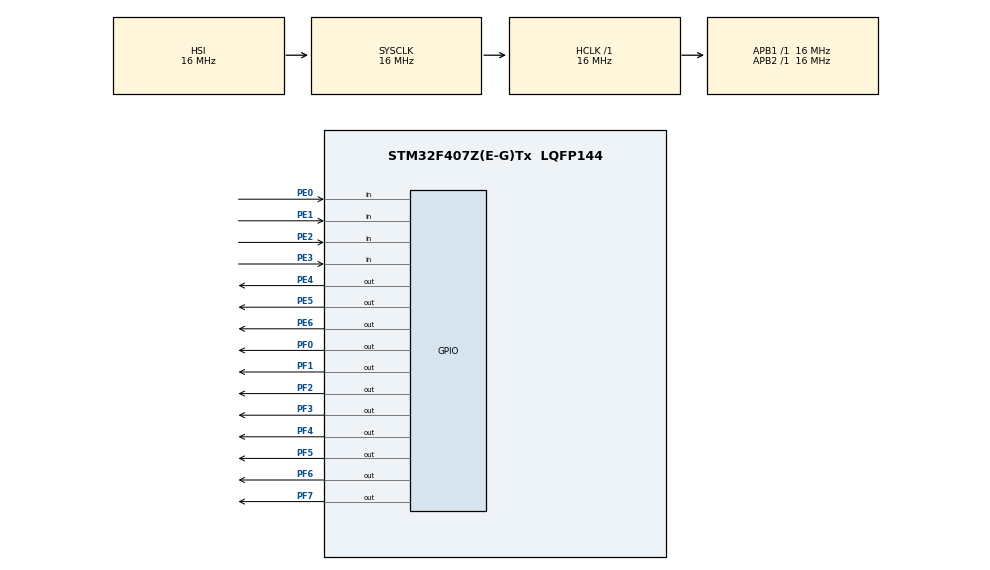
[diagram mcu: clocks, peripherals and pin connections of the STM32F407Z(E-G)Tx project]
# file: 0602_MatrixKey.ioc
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Mcu.Family=STM32F4
Mcu.Name=STM32F407Z(E-G)Tx
Mcu.Package=LQFP144
NVIC.PriorityGroup=NVIC_PRIORITYGROUP_4
PA13.Mode=Serial_Wire
PA13.Signal=SYS_JTMS-SWDIO
PA14.Mode=Serial_Wire
PA14.Signal=SYS_JTCK-SWCLK
PE0.GPIO_PuPd=GPIO_PULLUP
PE0.Signal=GPIO_Input
PE1.GPIO_PuPd=GPIO_PULLUP
PE1.Signal=GPIO_Input
PE2.GPIO_PuPd=GPIO_PULLUP
PE2.Signal=GPIO_Input
PE3.GPIO_PuPd=GPIO_PULLUP
PE3.Signal=GPIO_Input
PE4.PinState=GPIO_PIN_SET
PE4.Signal=GPIO_Output
PE5.PinState=GPIO_PIN_SET
PE5.Signal=GPIO_Output
PE6.PinState=GPIO_PIN_SET
PE6.Signal=GPIO_Output
PF0.PinState=GPIO_PIN_SET
PF0.Signal=GPIO_Output
PF1.PinState=GPIO_PIN_SET
PF1.Signal=GPIO_Output
PF2.PinState=GPIO_PIN_SET
PF2.Signal=GPIO_Output
PF3.PinState=GPIO_PIN_SET
PF3.Signal=GPIO_Output
PF4.PinState=GPIO_PIN_SET
PF4.Signal=GPIO_Output
PF5.PinState=GPIO_PIN_SET
PF5.Signal=GPIO_Output
PF6.PinState=GPIO_PIN_SET
PF6.Signal=GPIO_Output
PF7.PinState=GPIO_PIN_SET
PF7.Signal=GPIO_Output
ProjectManager.HeapSize=0x200
ProjectManager.StackSize=0x400
ProjectManager.TargetToolchain=MDK-ARM V5.32
RCC.AHBFreq_Value=16000000
RCC.APB1Freq_Value=16000000
RCC.APB2Freq_Value=16000000
RCC.CortexFreq_Value=16000000
RCC.HSE_VALUE=25000000
RCC.HSI_VALUE=16000000
RCC.LSE_VALUE=32768
RCC.SYSCLKFreq_VALUE=16000000
RCC.VCOOutputFreq_Value=192000000
board=custom

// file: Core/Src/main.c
/* USER CODE BEGIN Header */
/**
  ******************************************************************************
  * @file           : main.c
  * @brief          : Main program body
  ******************************************************************************
  */
/* USER CODE END Header */
#include "main.h"

void SystemClock_Config(void);
static void MX_GPIO_Init(void);

int main(void)
{
  /* USER CODE BEGIN 1 */
  uint16_t i, KeyVal = 0;
  uint8_t PreLine[3] = {0, 1, 2};
  /* USER CODE END 1 */

  /* MCU Configuration--------------------------------------------------------*/

  /* Reset of all peripherals, Initializes the Flash interface and the Systick. */
  HAL_Init();

  /* Configure the system clock */
  SystemClock_Config();

  /* Initialize all configured peripherals */
  MX_GPIO_Init();

  /* Infinite loop */
  while (1)
  {

    /* USER CODE BEGIN 3 */

    // ???:???? PE4?PE5?PE6
    for (i = 0; i < 3; i++)
    {
        // 1. ????????
        HAL_GPIO_WritePin(GPIOE, GPIO_PIN_4 | GPIO_PIN_5 | GPIO_PIN_6, GPIO_PIN_SET);

        // 2. ?????????
        HAL_GPIO_WritePin(GPIOE, (uint16_t)(1U << (i + 4)), GPIO_PIN_RESET);

        // 3. ????,??????
        HAL_Delay(2);

        // 4. ?? 4 ????? (PE0~PE3)
        if ((GPIOE->IDR & 0x0F) != 0x0F)
        {
            HAL_Delay(16); // ????
            if ((GPIOE->IDR & 0x0F) != 0x0F) // ????
            {
                switch ((GPIOE->IDR & 0x0F))
                {
                    case 0x0E: KeyVal = 4 * PreLine[i] + 1; break; // PE0 ??
                    case 0x0D: KeyVal = 4 * PreLine[i] + 2; break; // PE1 ??
                    case 0x0B: KeyVal = 4 * PreLine[i] + 3; break; // PE2 ??
                    case 0x07: KeyVal = 4 * PreLine[i] + 4; break; // PE3 ??
                    default  : break;
                }
            }
        }
    }

    // 5. ???? 8421BCD ?????? PF0~PF7
    // ?????,??????
    GPIOF->ODR = (uint16_t)~(((KeyVal / 10) << 4) + (KeyVal % 10));

  }
  /* USER CODE END 3 */
}

void SystemClock_Config(void)
{
  RCC_OscInitTypeDef RCC_OscInitStruct = {0};
  RCC_ClkInitTypeDef RCC_ClkInitStruct = {0};

  /** Configure the main internal regulator output voltage
  */
  __HAL_RCC_PWR_CLK_ENABLE();
  __HAL_PWR_VOLTAGESCALING_CONFIG(PWR_REGULATOR_VOLTAGE_SCALE1);

  /** Initializes the RCC Oscillators according to the specified parameters
  * in the RCC_OscInitTypeDef structure.
  */
  RCC_OscInitStruct.OscillatorType = RCC_OSCILLATORTYPE_HSI;
  RCC_OscInitStruct.HSIState = RCC_HSI_ON;
  RCC_OscInitStruct.HSICalibrationValue = RCC_HSICALIBRATION_DEFAULT;
  RCC_OscInitStruct.PLL.PLLState = RCC_PLL_NONE;
  if (HAL_RCC_OscConfig(&RCC_OscInitStruct) != HAL_OK)
  {
    Error_Handler();
  }

  /** Initializes the CPU, AHB and APB buses clocks
  */
  RCC_ClkInitStruct.ClockType = RCC_CLOCKTYPE_HCLK|RCC_CLOCKTYPE_SYSCLK
                              |RCC_CLOCKTYPE_PCLK1|RCC_CLOCKTYPE_PCLK2;
  RCC_ClkInitStruct.SYSCLKSource = RCC_SYSCLKSOURCE_HSI;
  RCC_ClkInitStruct.AHBCLKDivider = RCC_SYSCLK_DIV1;
  RCC_ClkInitStruct.APB1CLKDivider = RCC_HCLK_DIV1;
  RCC_ClkInitStruct.APB2CLKDivider = RCC_HCLK_DIV1;

  if (HAL_RCC_ClockConfig(&RCC_ClkInitStruct, FLASH_LATENCY_0) != HAL_OK)
  {
    Error_Handler();
  }
}

static void MX_GPIO_Init(void)
{
  GPIO_InitTypeDef GPIO_InitStruct = {0};

  /* GPIO Ports Clock Enable */
  __HAL_RCC_GPIOE_CLK_ENABLE();
  __HAL_RCC_GPIOF_CLK_ENABLE();
  __HAL_RCC_GPIOA_CLK_ENABLE();

  /*Configure GPIO pin Output Level */
  HAL_GPIO_WritePin(GPIOE, GPIO_PIN_4|GPIO_PIN_5|GPIO_PIN_6, GPIO_PIN_SET);
  HAL_GPIO_WritePin(GPIOF, GPIO_PIN_0|GPIO_PIN_1|GPIO_PIN_2|GPIO_PIN_3
                          |GPIO_PIN_4|GPIO_PIN_5|GPIO_PIN_6|GPIO_PIN_7, GPIO_PIN_SET);

  /*Configure GPIO pins : PE0 PE1 PE2 PE3 (????) */
  GPIO_InitStruct.Pin = GPIO_PIN_0|GPIO_PIN_1|GPIO_PIN_2|GPIO_PIN_3;
  GPIO_InitStruct.Mode = GPIO_MODE_INPUT;
  GPIO_InitStruct.Pull = GPIO_PULLUP;
  HAL_GPIO_Init(GPIOE, &GPIO_InitStruct);

  /*Configure GPIO pins : PE4 PE5 PE6 (????) */
  GPIO_InitStruct.Pin = GPIO_PIN_4|GPIO_PIN_5|GPIO_PIN_6;
  GPIO_InitStruct.Mode = GPIO_MODE_OUTPUT_PP;
  GPIO_InitStruct.Pull = GPIO_NOPULL;
  GPIO_InitStruct.Speed = GPIO_SPEED_FREQ_LOW;
  HAL_GPIO_Init(GPIOE, &GPIO_InitStruct);

  /*Configure GPIO pins : PF0~PF7 (LED??) */
  GPIO_InitStruct.Pin = GPIO_PIN_0|GPIO_PIN_1|GPIO_PIN_2|GPIO_PIN_3
                          |GPIO_PIN_4|GPIO_PIN_5|GPIO_PIN_6|GPIO_PIN_7;
  GPIO_InitStruct.Mode = GPIO_MODE_OUTPUT_PP;
  GPIO_InitStruct.Pull = GPIO_NOPULL;
  GPIO_InitStruct.Speed = GPIO_SPEED_FREQ_LOW;
  HAL_GPIO_Init(GPIOF, &GPIO_InitStruct);

}

void Error_Handler(void)
{
  __disable_irq();
  while (1)
  {
  }
}
